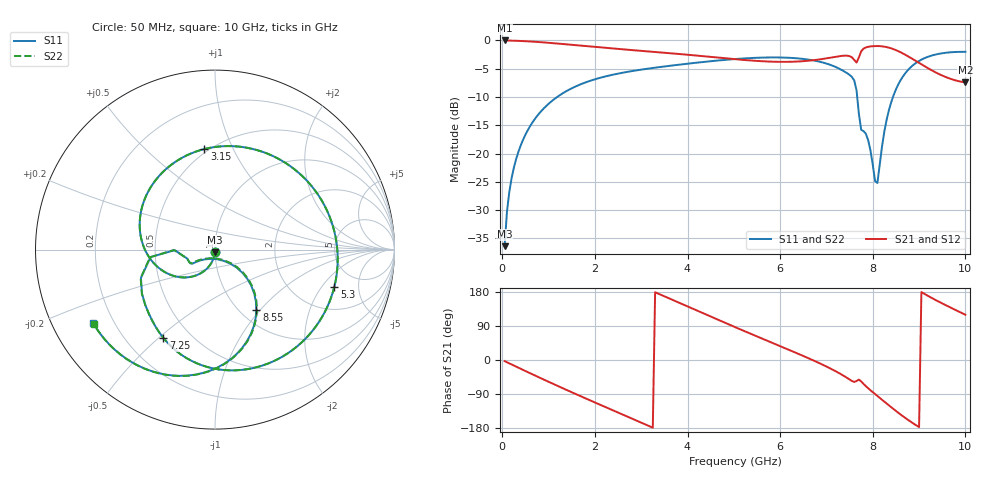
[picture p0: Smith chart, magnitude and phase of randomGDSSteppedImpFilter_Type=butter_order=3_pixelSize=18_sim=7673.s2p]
! freq	dB(S11)	phase(S11)	dB(S12)	phase(S12)
!  dB(S21)	phase(S21)	dB(S22)	phase(S22)
!S-par simulation data
#  GHz  S  DB  R 50
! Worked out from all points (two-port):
!   200 points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, 50 MHz to 10 GHz, reference 50 ohm
!   highest |S21| = -0.01 dB at 50 MHz (marker M1); lowest = -7.4 dB at 10 GHz (marker M2)
!   |S21| within 3 dB of the highest: start of sweep to 4.622 GHz; 7.7 GHz to 8.803 GHz (1.102 GHz wide, 13.4 % of centre) (the widest 2 of 3)
!   lowest |S11| = -36.4 dB at 50 MHz (marker M3), VSWR 1.03, Z = 49.9 - j1.51 ohm
!   |S11| at or under -10 dB: start of sweep to 1.185 GHz; 7.664 GHz to 8.437 GHz (772.7 MHz wide, 9.6 % of centre)
!   |S22| runs from -36.4 to -2.0 dB; largest |S21 - S12| = 0
!   S11 on the Smith chart (normalised r, x): 50 MHz: 1.00, -0.03; 3.15 GHz: 0.48, +0.78; 5.3 GHz: 3.33, -2.66; 7.25 GHz: 0.36, -0.52; 8.55 GHz: 1.18, -0.95; 10 GHz: 0.12, -0.27
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0.05  -36.38 -92.8  -0.01 -3.0  -0.01 -3.0  -36.38 -92.8
0.2  -24.40 -101.8  -0.04 -11.7  -0.04 -11.7  -24.40 -101.8
0.5  -16.66 -119.6  -0.14 -29.1  -0.14 -29.1  -16.66 -119.6
1.15  -10.20 -156.6  -0.52 -65.9  -0.52 -65.9  -10.20 -156.5
1.75  -7.57 170.6  -0.97 -98.7  -0.97 -98.7  -7.57 170.6
2.5  -5.87 130.5  -1.51 -138.7  -1.51 -138.7  -5.87 130.6
3.15  -4.98 96.0  -1.94 -173.3  -1.94 -173.3  -4.98 96.1
3.4  -4.71 82.7  -2.11 173.4  -2.11 173.4  -4.71 82.8
4.25  -3.89 37.4  -2.71 127.9  -2.71 127.9  -3.89 37.5
5.05  -3.28 -4.4  -3.34 85.5  -3.34 85.5  -3.28 -4.4
5.3  -3.14 -17.2  -3.51 72.5  -3.51 72.5  -3.14 -17.2
6.05  -3.03 -55.0  -3.79 34.0  -3.79 34.0  -3.03 -54.9
6.7  -3.51 -88.2  -3.51 -0.1  -3.51 -0.1  -3.51 -88.3
7.25  -4.89 -120.4  -2.83 -33.1  -2.83 -33.1  -4.89 -120.5
7.6  -7.09 -159.1  -3.46 -57.9  -3.46 -57.9  -7.06 -159.0
7.75  -15.81 -161.8  -1.93 -56.5  -1.93 -56.5  -15.66 -163.1
7.9  -17.62 -147.3  -1.13 -74.6  -1.13 -74.6  -17.68 -149.0
8.1  -25.21 -78.2  -0.99 -95.0  -0.99 -95.0  -25.79 -76.9
8.35  -12.29 -42.1  -1.28 -119.9  -1.28 -119.9  -12.31 -41.2
8.55  -7.80 -55.5  -1.89 -139.2  -1.89 -139.2  -7.80 -55.0
9.2  -2.87 -102.5  -4.95 168.6  -4.95 168.6  -2.87 -102.2
10  -2.02 -148.9  -7.42 119.4  -7.42 119.4  -2.02 -148.6
